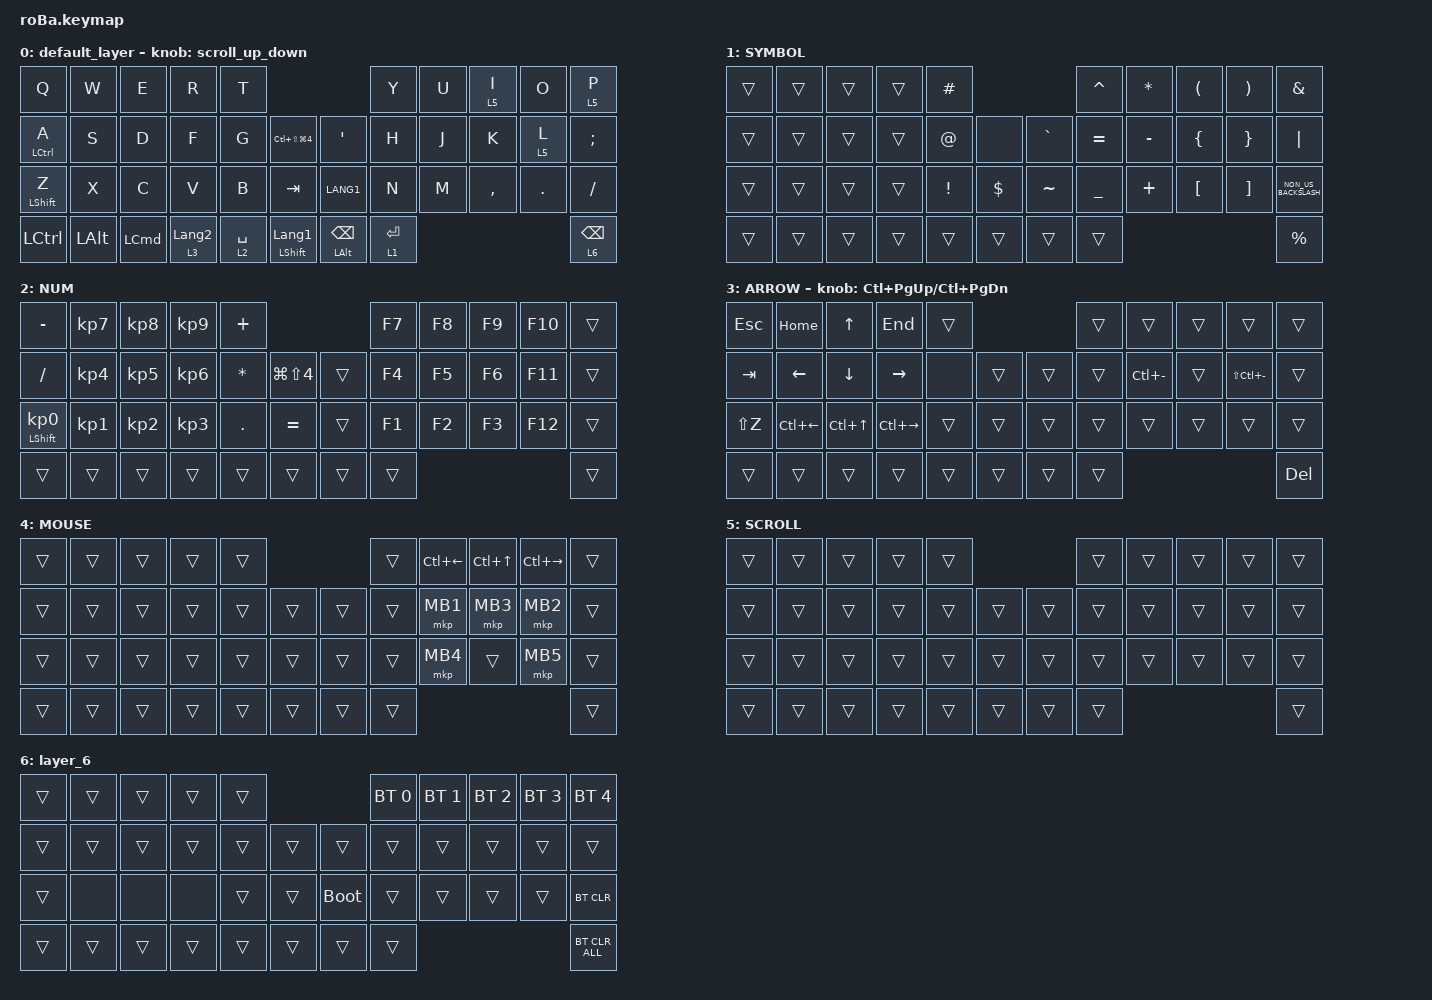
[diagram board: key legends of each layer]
#include <behaviors.dtsi>
#include <dt-bindings/zmk/bt.h>
#include <dt-bindings/zmk/keys.h>
#include <dt-bindings/zmk/pointing.h>

#define ZMK_POINTING_DEFAULT_SCRL_VAL 100
#define MOUSE 4
#define SCROLL 5
#define NUM 6

&mt {
    flavor = "balanced";
    quick-tap-ms = <0>;
};

/ {
    combos {
        compatible = "zmk,combos";

        tab {
            bindings = <&kp TAB>;
            key-positions = <11 12>;
        };

        shift_tab {
            bindings = <&kp LS(TAB)>;
            key-positions = <12 13>;
        };

        muhennkann {
            bindings = <&to_layer_0 INT_MUHENKAN>;
            key-positions = <11 10>;
        };

        double_quotation {
            bindings = <&kp DOUBLE_QUOTES>;
            key-positions = <20 21>;
        };

        eq {
            bindings = <&kp EQUAL>;
            key-positions = <24 25>;
        };
    };

    macros {
        to_layer_0: to_layer_0 {
            compatible = "zmk,behavior-macro-one-param";
            #binding-cells = <1>;
            bindings = <&to 0 &macro_param_1to1 &kp MACRO_PLACEHOLDER>;
            label = "TO_LAYER_0";
        };
    };

    behaviors {
        lt_to_layer_0: lt_to_layer_0 {
            compatible = "zmk,behavior-hold-tap";
            label = "LAYER_TAP_TO_0";
            bindings = <&mo>, <&to_layer_0>;

            #binding-cells = <2>;
            tapping-term-ms = <200>;
        };

        scroll_up_down: behavior_sensor_rotate_mouse_wheel_up_down {
            compatible = "zmk,behavior-sensor-rotate";
            #sensor-binding-cells = <0>;
            bindings = <&msc SCRL_DOWN>, <&msc SCRL_UP>;

            // 追加: スクロールのタップ時間を設定 (20ms)

            tap-ms = <20>;
        };
    };

    keymap {
        compatible = "zmk,keymap";

        default_layer {
            bindings = <
&kp Q             &kp W         &kp E             &kp R                        &kp T                                                               &kp Y        &kp U  &lt 5 I    &kp O    &lt 5 P
&mt LCTRL A       &kp S         &kp D             &kp F                        &kp G        &kp LC(LS(LG(NUMBER_4)))       &kp SQT                 &kp H        &kp J  &kp K      &lt 5 L  &kp SEMICOLON
&mt LEFT_SHIFT Z  &kp X         &kp C             &kp V                        &kp B        &kp TAB                        &kp LANG1               &kp N        &kp M  &kp COMMA  &kp DOT  &kp SLASH
&kp LCTRL         &kp LEFT_ALT  &kp LEFT_COMMAND  &lt_to_layer_0 3 LANGUAGE_2  &lt 2 SPACE  &mt LEFT_SHIFT LANGUAGE_1      &mt LEFT_ALT BACKSPACE  &lt 1 ENTER                             &lt 6 BACKSPACE
            >;

            sensor-bindings = <&scroll_up_down>;
        };

        SYMBOL {
            bindings = <
&trans  &trans  &trans  &trans  &kp HASH                                    &kp CARET       &kp ASTERISK  &kp LEFT_PARENTHESIS  &kp RIGHT_PARENTHESIS  &kp AMPERSAND
&trans  &trans  &trans  &trans  &kp AT_SIGN      &none           &kp GRAVE  &kp EQUAL       &kp MINUS     &kp LEFT_BRACE        &kp RIGHT_BRACE        &kp PIPE
&trans  &trans  &trans  &trans  &kp EXCLAMATION  &kp DOLLAR      &kp TILDE  &kp UNDERSCORE  &kp PLUS      &kp LEFT_BRACKET      &kp RIGHT_BRACKET      &kp NON_US_BACKSLASH
&trans  &trans  &trans  &trans  &trans           &trans          &trans     &trans                                                                     &kp PERCENT
            >;
        };

        NUM {
            bindings = <
&kp MINUS                   &kp KP_NUMBER_7  &kp KP_NUMBER_8  &kp KP_NUMBER_9  &kp PLUS                                        &kp F7  &kp F8  &kp F9  &kp F10  &trans
&kp SLASH                   &kp KP_NUMBER_4  &kp KP_NUMBER_5  &kp KP_NUMBER_6  &kp ASTERISK  &kp LG(LS(NUMBER_4))      &trans  &kp F4  &kp F5  &kp F6  &kp F11  &trans
&mt LEFT_SHIFT KP_NUMBER_0  &kp KP_NUMBER_1  &kp KP_NUMBER_2  &kp KP_NUMBER_3  &kp PERIOD    &kp EQUAL                 &trans  &kp F1  &kp F2  &kp F3  &kp F12  &trans
&trans                      &trans           &trans           &trans           &trans        &trans                    &trans  &trans                           &trans
            >;
        };

        ARROW {
            bindings = <
&kp ESCAPE  &kp HOME        &kp UP_ARROW    &kp END          &trans                      &trans  &trans         &trans  &trans             &trans
&kp TAB     &kp LEFT_ARROW  &kp DOWN_ARROW  &kp RIGHT_ARROW  &none   &trans      &trans  &trans  &kp LC(MINUS)  &trans  &kp LS(LC(MINUS))  &trans
&kp LS(Z)   &kp LC(LEFT)    &kp LC(UP)      &kp LC(RIGHT)    &trans  &trans      &trans  &trans  &trans         &trans  &trans             &trans
&trans      &trans          &trans          &trans           &trans  &trans      &trans  &trans                                            &kp DEL
            >;

            sensor-bindings = <&inc_dec_kp LC(PAGE_UP) LC(PAGE_DOWN)>;
        };

        MOUSE {
            bindings = <
&trans  &trans  &trans  &trans  &trans                      &trans  &kp LC(LEFT)  &kp LC(UP_ARROW)  &kp LC(RIGHT)  &trans
&trans  &trans  &trans  &trans  &trans  &trans      &trans  &trans  &mkp MB1      &mkp MB3          &mkp MB2       &trans
&trans  &trans  &trans  &trans  &trans  &trans      &trans  &trans  &mkp MB4      &trans            &mkp MB5       &trans
&trans  &trans  &trans  &trans  &trans  &trans      &trans  &trans                                                 &trans
            >;
        };

        SCROLL {
            bindings = <
&trans  &trans  &trans  &trans  &trans                      &trans  &trans  &trans  &trans  &trans
&trans  &trans  &trans  &trans  &trans  &trans      &trans  &trans  &trans  &trans  &trans  &trans
&trans  &trans  &trans  &trans  &trans  &trans      &trans  &trans  &trans  &trans  &trans  &trans
&trans  &trans  &trans  &trans  &trans  &trans      &trans  &trans                          &trans
            >;
        };

        layer_6 {
            bindings = <
&trans  &trans  &trans  &trans  &trans                           &bt BT_SEL 0  &bt BT_SEL 1  &bt BT_SEL 2  &bt BT_SEL 3  &bt BT_SEL 4
&trans  &trans  &trans  &trans  &trans  &trans      &trans       &trans        &trans        &trans        &trans        &trans
&trans  &none   &none   &none   &trans  &trans      &bootloader  &trans        &trans        &trans        &trans        &bt BT_CLR
&trans  &trans  &trans  &trans  &trans  &trans      &trans       &trans                                                  &bt BT_CLR_ALL
            >;
        };
    };
};
